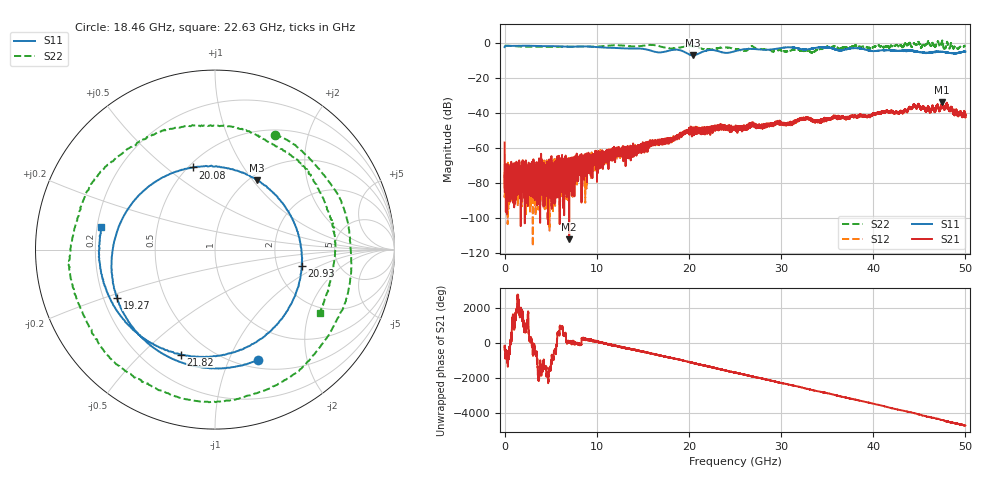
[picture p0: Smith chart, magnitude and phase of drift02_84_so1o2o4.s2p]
!Created with skrf (http://scikit-rf.org).
# Hz S RI R 50.0
!freq ReS11 ImS11 ReS21 ImS21 ReS12 ImS12 ReS22 ImS22
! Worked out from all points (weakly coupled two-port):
!   10001 points, 300 kHz to 50 GHz, reference 50 ohm
!   highest |S21| = -33.56 dB at 47.48 GHz (marker M1); lowest = -112.2 dB at 7.01 GHz (marker M2)
!   lowest |S11| = -6.9 dB at 20.41 GHz (marker M3), VSWR 2.64, Z = 54.1 + j52.4 ohm
!   |S11| at or under -10 dB: nowhere
!   |S22| runs from -5.3 to 1.7 dB; largest |S21 - S12| = 0.003
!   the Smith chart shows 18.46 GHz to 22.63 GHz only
!   S11 on the Smith chart (normalised r, x): 18.46 GHz: 0.59, -1.28; 19.27 GHz: 0.26, -0.22; 20.08 GHz: 0.53, +0.62; 20.93 GHz: 2.76, -0.66; 21.82 GHz: 0.35, -0.67; 22.63 GHz: 0.22, +0.09
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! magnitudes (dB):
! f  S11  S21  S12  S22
! 300 kHz  -2.1  -56.8  -69.4  -1.3
! 260.3 MHz  -1.4  -72.2  -77.4  -1.4
! 4.305 GHz  -1.6  -78.7  -73.0  -2.0
! 6.46 GHz  -1.9  -98.4  -71.2  -1.9
! 7.01 GHz  -1.9  -112.2  -68.1  -1.9
! 8.335 GHz  -1.7  -63.4  -67.5  -1.9
! 16.67 GHz  -5.2  -55.5  -56.1  -1.4
! 18.46 GHz  -3.6  -54.2  -54.5  -2.8
! 19.27 GHz  -4.3  -51.0  -52.1  -2.1
! 20.08 GHz  -6.5  -49.2  -49.5  -1.5
! 20.41 GHz  -6.9  -48.5  -51.7  -1.7
! 20.93 GHz  -6.2  -50.5  -47.9  -2.2
! 21.82 GHz  -4.2  -48.8  -50.9  -3.5
! 22.63 GHz  -3.8  -48.8  -48.5  -3.3
! 25 GHz  -4.5  -49.3  -48.1  -3.2
! 26.11 GHz  -3.3  -48.5  -47.2  -4.3
! 26.9 GHz  -3.2  -47.1  -47.1  -1.6
! 33.34 GHz  -3.0  -43.7  -43.9  -5.1
! 34.89 GHz  -2.2  -44.0  -43.2  -2.2
! 41.67 GHz  -3.9  -39.4  -38.9  -2.0
! 47.48 GHz  -4.8  -33.6  -33.9  1.4
! 50 GHz  -4.7  -42.2  -40.5  -1.6
